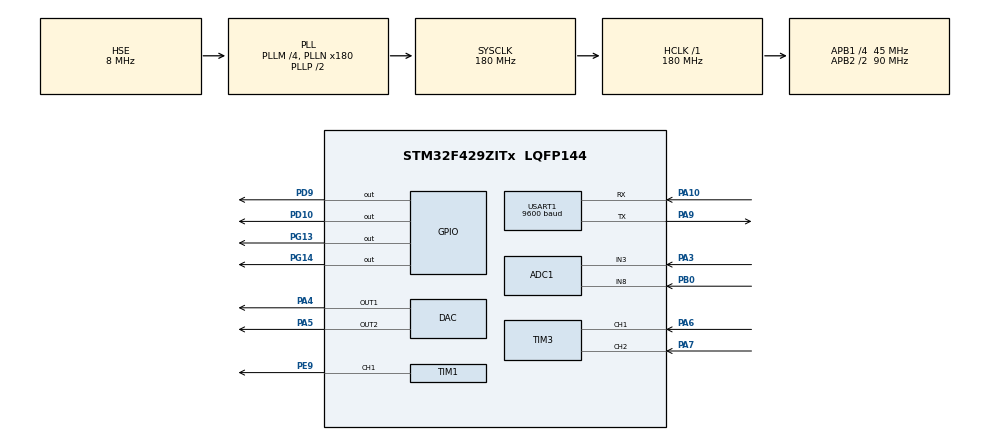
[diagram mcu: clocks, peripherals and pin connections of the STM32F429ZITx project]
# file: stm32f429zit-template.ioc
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ADC1.Channel-0\#ChannelRegularConversion=ADC_CHANNEL_8
ADC1.Channel-8\#ChannelRegularConversion=ADC_CHANNEL_3
ADC1.ContinuousConvMode=DISABLE
ADC1.DMAContinuousRequests=ENABLE
ADC1.EOCSelection=ADC_EOC_SINGLE_CONV
ADC1.ExternalTrigConv=ADC_EXTERNALTRIGCONV_T2_CC2
ADC1.ExternalTrigConvEdge=ADC_EXTERNALTRIGCONVEDGE_FALLING
ADC1.NbrOfConversion=2
ADC1.NbrOfConversionFlag=1
ADC1.Rank-0\#ChannelRegularConversion=1
ADC1.Rank-8\#ChannelRegularConversion=2
ADC1.SamplingTime-0\#ChannelRegularConversion=ADC_SAMPLETIME_15CYCLES
ADC1.SamplingTime-8\#ChannelRegularConversion=ADC_SAMPLETIME_15CYCLES
ADC1.master=1
Dma.ADC1.0.Direction=DMA_PERIPH_TO_MEMORY
Dma.ADC1.0.FIFOMode=DMA_FIFOMODE_DISABLE
Dma.ADC1.0.Instance=DMA2_Stream0
Dma.ADC1.0.MemDataAlignment=DMA_MDATAALIGN_HALFWORD
Dma.ADC1.0.MemInc=DMA_MINC_ENABLE
Dma.ADC1.0.Mode=DMA_CIRCULAR
Dma.ADC1.0.PeriphDataAlignment=DMA_PDATAALIGN_HALFWORD
Dma.ADC1.0.PeriphInc=DMA_PINC_DISABLE
Dma.ADC1.0.Priority=DMA_PRIORITY_LOW
Dma.Request0=ADC1
Mcu.Family=STM32F4
Mcu.Name=STM32F429ZITx
Mcu.Package=LQFP144
NVIC.ADC_IRQn=true\:0\:0\:false\:false\:true\:true\:true\:true
NVIC.DMA2_Stream0_IRQn=true\:0\:0\:false\:false\:true\:false\:true\:true
NVIC.PriorityGroup=NVIC_PRIORITYGROUP_4
NVIC.TIM2_IRQn=true\:0\:0\:false\:false\:true\:true\:true\:true
NVIC.TIM3_IRQn=true\:0\:0\:false\:false\:true\:true\:true\:true
NVIC.TIM7_IRQn=true\:0\:0\:false\:false\:true\:true\:true\:true
NVIC.TIM8_UP_TIM13_IRQn=true\:0\:0\:false\:false\:true\:true\:true\:true
NVIC.USART1_IRQn=true\:0\:0\:false\:false\:true\:true\:true\:true
PA10.Mode=Asynchronous
PA10.Signal=USART1_RX
PA13.Mode=Serial_Wire
PA13.Signal=SYS_JTMS-SWDIO
PA14.Mode=Serial_Wire
PA14.Signal=SYS_JTCK-SWCLK
PA3.Signal=ADCx_IN3
PA4.Signal=COMP_DAC1_group
PA5.Signal=COMP_DAC2_group
PA6.Signal=S_TIM3_CH1
PA7.Signal=S_TIM3_CH2
PA9.Mode=Asynchronous
PA9.Signal=USART1_TX
PB0.Signal=ADCx_IN8
PD10.Signal=GPIO_Output
PD9.Signal=GPIO_Output
PE9.Signal=S_TIM1_CH1
PG13.Signal=GPIO_Output
PG14.Signal=GPIO_Output
PH0/OSC_IN.Mode=HSE-External-Oscillator
PH0/OSC_IN.Signal=RCC_OSC_IN
PH1/OSC_OUT.Mode=HSE-External-Oscillator
PH1/OSC_OUT.Signal=RCC_OSC_OUT
ProjectManager.HeapSize=0x200
ProjectManager.StackSize=0x400
ProjectManager.TargetToolchain=STM32CubeIDE
RCC.48MHZClocksFreq_Value=90000000
RCC.AHBFreq_Value=180000000
RCC.APB1CLKDivider=RCC_HCLK_DIV4
RCC.APB1Freq_Value=45000000
RCC.APB1TimFreq_Value=90000000
RCC.APB2CLKDivider=RCC_HCLK_DIV2
RCC.APB2Freq_Value=90000000
RCC.APB2TimFreq_Value=180000000
RCC.CortexFreq_Value=180000000
RCC.HCLKFreq_Value=180000000
RCC.HSE_VALUE=8000000
RCC.HSI_VALUE=16000000
RCC.LSE_VALUE=32768
RCC.PLLM=4
RCC.PLLN=180
RCC.PLLSourceVirtual=RCC_PLLSOURCE_HSE
RCC.SYSCLKFreq_VALUE=180000000
RCC.SYSCLKSource=RCC_SYSCLKSOURCE_PLLCLK
RCC.VCOOutputFreq_Value=360000000
SH.ADCx_IN3.0=ADC1_IN3,IN3
SH.ADCx_IN8.0=ADC1_IN8,IN8
SH.COMP_DAC1_group.0=DAC_OUT1,DAC_OUT1
SH.COMP_DAC2_group.0=DAC_OUT2,DAC_OUT2
SH.S_TIM1_CH1.0=TIM1_CH1,PWM Generation1 CH1
SH.S_TIM3_CH1.0=TIM3_CH1,Encoder_Interface
SH.S_TIM3_CH2.0=TIM3_CH2,Encoder_Interface
TIM1.Channel-PWM\ Generation1\ CH1=TIM_CHANNEL_1
TIM1.CounterMode=TIM_COUNTERMODE_CENTERALIGNED1
TIM1.TIM_MasterOutputTrigger=TIM_TRGO_UPDATE
TIM1.TIM_MasterSlaveMode=TIM_MASTERSLAVEMODE_ENABLE
TIM13.Period=900-1
TIM2.Channel-PWM\ Generation2\ No\ Output=TIM_CHANNEL_2
TIM3.EncoderMode=TIM_ENCODERMODE_TI12
TIM3.IC1Filter=8
TIM3.IC2Filter=8
TIM7.Period=10-1
TIM7.Prescaler=9000-1
USART1.BaudRate=9600
USART1.VirtualMode=VM_ASYNC
VP_TIM13_VS_ClockSourceINT.Mode=Enable_Timer
VP_TIM2_VS_ClockSourceITR.Mode=TriggerSource_ITR0
VP_TIM2_VS_ControllerModeReset.Mode=Reset Mode
VP_TIM2_VS_no_output2.Mode=PWM Generation2 No Output
VP_TIM7_VS_ClockSourceINT.Mode=Enable_Timer
board=custom

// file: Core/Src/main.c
/* USER CODE BEGIN Header */
/**
  ******************************************************************************
  * @file           : main.c
  * @brief          : Main program body
  ******************************************************************************
  * @attention
  *
  * Copyright (c) 2024 STMicroelectronics.
  * All rights reserved.
  *
  * This software is licensed under terms that can be found in the LICENSE file
  * in the root directory of this software component.
  * If no LICENSE file comes with this software, it is provided AS-IS.
  *
  ******************************************************************************
  */
/* USER CODE END Header */
#include "main.h"

/* USER CODE BEGIN Includes */
#include "virtual_motor.h"
#include "arm_math.h"
#include <stdlib.h>
#include <string.h>
/* USER CODE END Includes */

/* USER CODE BEGIN PTD */
typedef enum
{
  MODE_OPEN_LOOP = 0,
  MODE_CLOSED_LOOP,
} control_mode_t;

typedef struct
{
  float duty_cycle;
  float meas_current;
  float meas_current_unfiltered;
  float meas_velocity;
  float meas_velocity_unfiltered;
  float meas_velocity_rpm;
  float target;

  control_mode_t control_mode;
  arm_pid_instance_f32 reg_velocity;
  float target_voltage;
  float target_rpm;
} dcmotor_t;

typedef struct
{
  float angle;
  uint32_t capture_cnt;
  int dir;
} encoder_t;
/* USER CODE END PTD */

/* USER CODE BEGIN PD */
#define UART_RX_BUF_SIZE 32
/* USER CODE END PD */

/* USER CODE BEGIN PM */
#define UTILS_LP_FAST(value, sample, filter_constant) (value -= (filter_constant) * ((value) - (sample)))
/* USER CODE END PM */

ADC_HandleTypeDef hadc1;
DMA_HandleTypeDef hdma_adc1;

DAC_HandleTypeDef hdac;

TIM_HandleTypeDef htim1;
TIM_HandleTypeDef htim2;
TIM_HandleTypeDef htim3;
TIM_HandleTypeDef htim7;
TIM_HandleTypeDef htim13;

UART_HandleTypeDef huart1;

/* USER CODE BEGIN PV */
uint16_t adc_values[2] = {0};
uint16_t adc_sample_flag = 0;
uint8_t uart_byte = 0;

encoder_t encoder = {0};
dcmotor_t dcmotor = {0};
/* USER CODE END PV */

void SystemClock_Config(void);
static void MX_GPIO_Init(void);
static void MX_DMA_Init(void);
static void MX_TIM7_Init(void);
static void MX_TIM1_Init(void);
static void MX_ADC1_Init(void);
static void MX_TIM2_Init(void);
static void MX_TIM3_Init(void);
static void MX_USART1_UART_Init(void);
static void MX_TIM13_Init(void);
static void MX_DAC_Init(void);
/* USER CODE BEGIN PFP */
int parse_int_command(char *command);
void control_loop();
/* USER CODE END PFP */

int main(void)
{

  /* MCU Configuration--------------------------------------------------------*/

  /* Reset of all peripherals, Initializes the Flash interface and the Systick. */
  HAL_Init();

  /* Configure the system clock */
  SystemClock_Config();

  /* Initialize all configured peripherals */
  MX_GPIO_Init();
  MX_DMA_Init();
  MX_TIM7_Init();
  MX_TIM1_Init();
  MX_ADC1_Init();
  MX_TIM2_Init();
  MX_TIM3_Init();
  MX_USART1_UART_Init();
  MX_TIM13_Init();
  MX_DAC_Init();
  /* USER CODE BEGIN 2 */
  virtual_motor_reinit();

  dcmotor.control_mode = MODE_CLOSED_LOOP;

  dcmotor.reg_velocity.Kp = 0.01f;
  dcmotor.reg_velocity.Ki = 0.00005f;
  dcmotor.reg_velocity.Kd = 0.0f;
  arm_pid_init_f32(&dcmotor.reg_velocity, 1);

  TIM7->ARR = 5 - 1;
  HAL_TIM_Base_Start_IT(&htim7);

  HAL_TIM_Encoder_Start_IT(&htim3, TIM_CHANNEL_1);
  HAL_TIM_Encoder_Start_IT(&htim3, TIM_CHANNEL_2);

  HAL_ADC_Start_DMA(&hadc1, (uint32_t*)adc_values, 2);

  TIM2->PSC = 9 - 1;
  TIM2->CCR2 = 0xf;
  HAL_TIM_PWM_Start_IT(&htim2, TIM_CHANNEL_2);

  TIM1->ARR = (SystemCoreClock / 5000 / 2) - 1; // 5 KHz PWM
  TIM1->CCR1 = (uint16_t)(0.25f * (float)TIM1->ARR);
  HAL_TIM_PWM_Start(&htim1, TIM_CHANNEL_1);

  HAL_UART_Receive_IT(&huart1, &uart_byte, sizeof(uart_byte));
  /* USER CODE END 2 */

  /* Infinite loop */
  while (1)
  {

  }
}

void SystemClock_Config(void)
{
  RCC_OscInitTypeDef RCC_OscInitStruct = {0};
  RCC_ClkInitTypeDef RCC_ClkInitStruct = {0};

  /** Configure the main internal regulator output voltage
  */
  __HAL_RCC_PWR_CLK_ENABLE();
  __HAL_PWR_VOLTAGESCALING_CONFIG(PWR_REGULATOR_VOLTAGE_SCALE1);

  /** Initializes the RCC Oscillators according to the specified parameters
  * in the RCC_OscInitTypeDef structure.
  */
  RCC_OscInitStruct.OscillatorType = RCC_OSCILLATORTYPE_HSE;
  RCC_OscInitStruct.HSEState = RCC_HSE_ON;
  RCC_OscInitStruct.PLL.PLLState = RCC_PLL_ON;
  RCC_OscInitStruct.PLL.PLLSource = RCC_PLLSOURCE_HSE;
  RCC_OscInitStruct.PLL.PLLM = 4;
  RCC_OscInitStruct.PLL.PLLN = 180;
  RCC_OscInitStruct.PLL.PLLP = RCC_PLLP_DIV2;
  RCC_OscInitStruct.PLL.PLLQ = 4;
  if (HAL_RCC_OscConfig(&RCC_OscInitStruct) != HAL_OK)
  {
    Error_Handler();
  }

  /** Activate the Over-Drive mode
  */
  if (HAL_PWREx_EnableOverDrive() != HAL_OK)
  {
    Error_Handler();
  }

  /** Initializes the CPU, AHB and APB buses clocks
  */
  RCC_ClkInitStruct.ClockType = RCC_CLOCKTYPE_HCLK|RCC_CLOCKTYPE_SYSCLK
                              |RCC_CLOCKTYPE_PCLK1|RCC_CLOCKTYPE_PCLK2;
  RCC_ClkInitStruct.SYSCLKSource = RCC_SYSCLKSOURCE_PLLCLK;
  RCC_ClkInitStruct.AHBCLKDivider = RCC_SYSCLK_DIV1;
  RCC_ClkInitStruct.APB1CLKDivider = RCC_HCLK_DIV4;
  RCC_ClkInitStruct.APB2CLKDivider = RCC_HCLK_DIV2;

  if (HAL_RCC_ClockConfig(&RCC_ClkInitStruct, FLASH_LATENCY_5) != HAL_OK)
  {
    Error_Handler();
  }
}

static void MX_ADC1_Init(void)
{

  ADC_ChannelConfTypeDef sConfig = {0};

  /** Configure the global features of the ADC (Clock, Resolution, Data Alignment and number of conversion)
  */
  hadc1.Instance = ADC1;
  hadc1.Init.ClockPrescaler = ADC_CLOCK_SYNC_PCLK_DIV4;
  hadc1.Init.Resolution = ADC_RESOLUTION_12B;
  hadc1.Init.ScanConvMode = ENABLE;
  hadc1.Init.ContinuousConvMode = DISABLE;
  hadc1.Init.DiscontinuousConvMode = DISABLE;
  hadc1.Init.ExternalTrigConvEdge = ADC_EXTERNALTRIGCONVEDGE_FALLING;
  hadc1.Init.ExternalTrigConv = ADC_EXTERNALTRIGCONV_T2_CC2;
  hadc1.Init.DataAlign = ADC_DATAALIGN_RIGHT;
  hadc1.Init.NbrOfConversion = 2;
  hadc1.Init.DMAContinuousRequests = ENABLE;
  hadc1.Init.EOCSelection = ADC_EOC_SINGLE_CONV;
  if (HAL_ADC_Init(&hadc1) != HAL_OK)
  {
    Error_Handler();
  }

  /** Configure for the selected ADC regular channel its corresponding rank in the sequencer and its sample time.
  */
  sConfig.Channel = ADC_CHANNEL_8;
  sConfig.Rank = 1;
  sConfig.SamplingTime = ADC_SAMPLETIME_15CYCLES;
  if (HAL_ADC_ConfigChannel(&hadc1, &sConfig) != HAL_OK)
  {
    Error_Handler();
  }

  /** Configure for the selected ADC regular channel its corresponding rank in the sequencer and its sample time.
  */
  sConfig.Channel = ADC_CHANNEL_3;
  sConfig.Rank = 2;
  if (HAL_ADC_ConfigChannel(&hadc1, &sConfig) != HAL_OK)
  {
    Error_Handler();
  }

}

static void MX_DAC_Init(void)
{

  DAC_ChannelConfTypeDef sConfig = {0};

  /** DAC Initialization
  */
  hdac.Instance = DAC;
  if (HAL_DAC_Init(&hdac) != HAL_OK)
  {
    Error_Handler();
  }

  /** DAC channel OUT1 config
  */
  sConfig.DAC_Trigger = DAC_TRIGGER_NONE;
  sConfig.DAC_OutputBuffer = DAC_OUTPUTBUFFER_ENABLE;
  if (HAL_DAC_ConfigChannel(&hdac, &sConfig, DAC_CHANNEL_1) != HAL_OK)
  {
    Error_Handler();
  }

  /** DAC channel OUT2 config
  */
  if (HAL_DAC_ConfigChannel(&hdac, &sConfig, DAC_CHANNEL_2) != HAL_OK)
  {
    Error_Handler();
  }

}

static void MX_TIM1_Init(void)
{

  TIM_MasterConfigTypeDef sMasterConfig = {0};
  TIM_OC_InitTypeDef sConfigOC = {0};
  TIM_BreakDeadTimeConfigTypeDef sBreakDeadTimeConfig = {0};

  htim1.Instance = TIM1;
  htim1.Init.Prescaler = 0;
  htim1.Init.CounterMode = TIM_COUNTERMODE_CENTERALIGNED1;
  htim1.Init.Period = 65535;
  htim1.Init.ClockDivision = TIM_CLOCKDIVISION_DIV1;
  htim1.Init.RepetitionCounter = 0;
  htim1.Init.AutoReloadPreload = TIM_AUTORELOAD_PRELOAD_DISABLE;
  if (HAL_TIM_PWM_Init(&htim1) != HAL_OK)
  {
    Error_Handler();
  }
  sMasterConfig.MasterOutputTrigger = TIM_TRGO_UPDATE;
  sMasterConfig.MasterSlaveMode = TIM_MASTERSLAVEMODE_ENABLE;
  if (HAL_TIMEx_MasterConfigSynchronization(&htim1, &sMasterConfig) != HAL_OK)
  {
    Error_Handler();
  }
  sConfigOC.OCMode = TIM_OCMODE_PWM1;
  sConfigOC.Pulse = 0;
  sConfigOC.OCPolarity = TIM_OCPOLARITY_HIGH;
  sConfigOC.OCNPolarity = TIM_OCNPOLARITY_HIGH;
  sConfigOC.OCFastMode = TIM_OCFAST_DISABLE;
  sConfigOC.OCIdleState = TIM_OCIDLESTATE_RESET;
  sConfigOC.OCNIdleState = TIM_OCNIDLESTATE_RESET;
  if (HAL_TIM_PWM_ConfigChannel(&htim1, &sConfigOC, TIM_CHANNEL_1) != HAL_OK)
  {
    Error_Handler();
  }
  sBreakDeadTimeConfig.OffStateRunMode = TIM_OSSR_DISABLE;
  sBreakDeadTimeConfig.OffStateIDLEMode = TIM_OSSI_DISABLE;
  sBreakDeadTimeConfig.LockLevel = TIM_LOCKLEVEL_OFF;
  sBreakDeadTimeConfig.DeadTime = 0;
  sBreakDeadTimeConfig.BreakState = TIM_BREAK_DISABLE;
  sBreakDeadTimeConfig.BreakPolarity = TIM_BREAKPOLARITY_HIGH;
  sBreakDeadTimeConfig.AutomaticOutput = TIM_AUTOMATICOUTPUT_DISABLE;
  if (HAL_TIMEx_ConfigBreakDeadTime(&htim1, &sBreakDeadTimeConfig) != HAL_OK)
  {
    Error_Handler();
  }
  HAL_TIM_MspPostInit(&htim1);

}

static void MX_TIM2_Init(void)
{

  TIM_SlaveConfigTypeDef sSlaveConfig = {0};
  TIM_MasterConfigTypeDef sMasterConfig = {0};
  TIM_OC_InitTypeDef sConfigOC = {0};

  htim2.Instance = TIM2;
  htim2.Init.Prescaler = 0;
  htim2.Init.CounterMode = TIM_COUNTERMODE_UP;
  htim2.Init.Period = 4294967295;
  htim2.Init.ClockDivision = TIM_CLOCKDIVISION_DIV1;
  htim2.Init.AutoReloadPreload = TIM_AUTORELOAD_PRELOAD_DISABLE;
  if (HAL_TIM_Base_Init(&htim2) != HAL_OK)
  {
    Error_Handler();
  }
  if (HAL_TIM_PWM_Init(&htim2) != HAL_OK)
  {
    Error_Handler();
  }
  sSlaveConfig.SlaveMode = TIM_SLAVEMODE_RESET;
  sSlaveConfig.InputTrigger = TIM_TS_ITR0;
  if (HAL_TIM_SlaveConfigSynchro(&htim2, &sSlaveConfig) != HAL_OK)
  {
    Error_Handler();
  }
  sMasterConfig.MasterOutputTrigger = TIM_TRGO_RESET;
  sMasterConfig.MasterSlaveMode = TIM_MASTERSLAVEMODE_DISABLE;
  if (HAL_TIMEx_MasterConfigSynchronization(&htim2, &sMasterConfig) != HAL_OK)
  {
    Error_Handler();
  }
  sConfigOC.OCMode = TIM_OCMODE_PWM1;
  sConfigOC.Pulse = 0;
  sConfigOC.OCPolarity = TIM_OCPOLARITY_HIGH;
  sConfigOC.OCFastMode = TIM_OCFAST_DISABLE;
  if (HAL_TIM_PWM_ConfigChannel(&htim2, &sConfigOC, TIM_CHANNEL_2) != HAL_OK)
  {
    Error_Handler();
  }

}

static void MX_TIM3_Init(void)
{

  TIM_Encoder_InitTypeDef sConfig = {0};
  TIM_MasterConfigTypeDef sMasterConfig = {0};

  htim3.Instance = TIM3;
  htim3.Init.Prescaler = 0;
  htim3.Init.CounterMode = TIM_COUNTERMODE_UP;
  htim3.Init.Period = 65535;
  htim3.Init.ClockDivision = TIM_CLOCKDIVISION_DIV1;
  htim3.Init.AutoReloadPreload = TIM_AUTORELOAD_PRELOAD_DISABLE;
  sConfig.EncoderMode = TIM_ENCODERMODE_TI12;
  sConfig.IC1Polarity = TIM_ICPOLARITY_RISING;
  sConfig.IC1Selection = TIM_ICSELECTION_DIRECTTI;
  sConfig.IC1Prescaler = TIM_ICPSC_DIV1;
  sConfig.IC1Filter = 8;
  sConfig.IC2Polarity = TIM_ICPOLARITY_RISING;
  sConfig.IC2Selection = TIM_ICSELECTION_DIRECTTI;
  sConfig.IC2Prescaler = TIM_ICPSC_DIV1;
  sConfig.IC2Filter = 8;
  if (HAL_TIM_Encoder_Init(&htim3, &sConfig) != HAL_OK)
  {
    Error_Handler();
  }
  sMasterConfig.MasterOutputTrigger = TIM_TRGO_RESET;
  sMasterConfig.MasterSlaveMode = TIM_MASTERSLAVEMODE_DISABLE;
  if (HAL_TIMEx_MasterConfigSynchronization(&htim3, &sMasterConfig) != HAL_OK)
  {
    Error_Handler();
  }

}

static void MX_TIM7_Init(void)
{

  TIM_MasterConfigTypeDef sMasterConfig = {0};

  htim7.Instance = TIM7;
  htim7.Init.Prescaler = 9000-1;
  htim7.Init.CounterMode = TIM_COUNTERMODE_UP;
  htim7.Init.Period = 10-1;
  htim7.Init.AutoReloadPreload = TIM_AUTORELOAD_PRELOAD_DISABLE;
  if (HAL_TIM_Base_Init(&htim7) != HAL_OK)
  {
    Error_Handler();
  }
  sMasterConfig.MasterOutputTrigger = TIM_TRGO_RESET;
  sMasterConfig.MasterSlaveMode = TIM_MASTERSLAVEMODE_DISABLE;
  if (HAL_TIMEx_MasterConfigSynchronization(&htim7, &sMasterConfig) != HAL_OK)
  {
    Error_Handler();
  }

}

static void MX_TIM13_Init(void)
{

  htim13.Instance = TIM13;
  htim13.Init.Prescaler = 0;
  htim13.Init.CounterMode = TIM_COUNTERMODE_UP;
  htim13.Init.Period = 900-1;
  htim13.Init.ClockDivision = TIM_CLOCKDIVISION_DIV1;
  htim13.Init.AutoReloadPreload = TIM_AUTORELOAD_PRELOAD_DISABLE;
  if (HAL_TIM_Base_Init(&htim13) != HAL_OK)
  {
    Error_Handler();
  }

}

static void MX_USART1_UART_Init(void)
{

  huart1.Instance = USART1;
  huart1.Init.BaudRate = 9600;
  huart1.Init.WordLength = UART_WORDLENGTH_8B;
  huart1.Init.StopBits = UART_STOPBITS_1;
  huart1.Init.Parity = UART_PARITY_NONE;
  huart1.Init.Mode = UART_MODE_TX_RX;
  huart1.Init.HwFlowCtl = UART_HWCONTROL_NONE;
  huart1.Init.OverSampling = UART_OVERSAMPLING_16;
  if (HAL_UART_Init(&huart1) != HAL_OK)
  {
    Error_Handler();
  }

}

static void MX_DMA_Init(void)
{

  /* DMA controller clock enable */
  __HAL_RCC_DMA2_CLK_ENABLE();

  /* DMA interrupt init */
  /* DMA2_Stream0_IRQn interrupt configuration */
  HAL_NVIC_SetPriority(DMA2_Stream0_IRQn, 0, 0);
  HAL_NVIC_EnableIRQ(DMA2_Stream0_IRQn);

}

static void MX_GPIO_Init(void)
{
  GPIO_InitTypeDef GPIO_InitStruct = {0};

  /* GPIO Ports Clock Enable */
  __HAL_RCC_GPIOH_CLK_ENABLE();
  __HAL_RCC_GPIOA_CLK_ENABLE();
  __HAL_RCC_GPIOB_CLK_ENABLE();
  __HAL_RCC_GPIOE_CLK_ENABLE();
  __HAL_RCC_GPIOD_CLK_ENABLE();
  __HAL_RCC_GPIOG_CLK_ENABLE();

  /*Configure GPIO pin Output Level */
  HAL_GPIO_WritePin(GPIOD, GPIO_PIN_9|GPIO_PIN_10, GPIO_PIN_RESET);

  /*Configure GPIO pin Output Level */
  HAL_GPIO_WritePin(GPIOG, GPIO_PIN_13|GPIO_PIN_14, GPIO_PIN_RESET);

  /*Configure GPIO pins : PD9 PD10 */
  GPIO_InitStruct.Pin = GPIO_PIN_9|GPIO_PIN_10;
  GPIO_InitStruct.Mode = GPIO_MODE_OUTPUT_PP;
  GPIO_InitStruct.Pull = GPIO_NOPULL;
  GPIO_InitStruct.Speed = GPIO_SPEED_FREQ_LOW;
  HAL_GPIO_Init(GPIOD, &GPIO_InitStruct);

  /*Configure GPIO pins : PG13 PG14 */
  GPIO_InitStruct.Pin = GPIO_PIN_13|GPIO_PIN_14;
  GPIO_InitStruct.Mode = GPIO_MODE_OUTPUT_PP;
  GPIO_InitStruct.Pull = GPIO_NOPULL;
  GPIO_InitStruct.Speed = GPIO_SPEED_FREQ_LOW;
  HAL_GPIO_Init(GPIOG, &GPIO_InitStruct);

}

/* USER CODE BEGIN 4 */
void HAL_UART_RxCpltCallback(UART_HandleTypeDef *huart)
{
  static char rx_buf[UART_RX_BUF_SIZE] = {0};
  static int rx_buf_idx = 0;

  if (huart != &huart1)
  {
    return;
  }

  if (rx_buf_idx >= UART_RX_BUF_SIZE)
  {
    // Произошло переполнение буфера
    rx_buf_idx = 0;
    memset((void *)rx_buf, 0, UART_RX_BUF_SIZE);
  }

  rx_buf[rx_buf_idx++] = uart_byte;

  if ((rx_buf_idx > 2) && (rx_buf[rx_buf_idx - 2] == '\r') && (rx_buf[rx_buf_idx - 1] == '\n'))
  {
    // Отправляем команду в симулятор двигателя
	  char *vm_response = virtual_motor_parse_command(rx_buf);
	  if (vm_response != NULL) {
		  HAL_UART_Transmit(&huart1, (uint8_t*)vm_response, strlen(vm_response), 100);
	  }
    else if (strstr(rx_buf, "set_mode"))
    {
    	int mode = parse_int_command(rx_buf);
    	if (mode != -1)
    	{
    		dcmotor.control_mode = mode;
    	}
    }
    else if (strstr(rx_buf, "set_target"))
    {
      int target = parse_int_command(rx_buf);
      if (target != -1)
      {
        dcmotor.target = (float)target * 0.01f;
      }
    }
    else
    {
      const char msg[] = "unknown command!\r\n";
      HAL_UART_Transmit(&huart1, (uint8_t *)msg, strlen(msg), 100);
    }
    // Очищаем буфер
    rx_buf_idx = 0;
    memset((void *)rx_buf, 0, UART_RX_BUF_SIZE);
  }

  // Снова включаем приём 1 байта по прерыванию
  HAL_UART_Receive_IT(&huart1, &uart_byte, sizeof(uart_byte));
}

void HAL_TIM_IC_CaptureCallback(TIM_HandleTypeDef *htim)
{
  if (htim == &htim3)
  {
    if (htim3.Channel == HAL_TIM_ACTIVE_CHANNEL_1)
    {
      encoder.capture_cnt++;
      if (TIM3->CR1 & TIM_CR1_DIR)
      {
        encoder.dir = -1;
      }
      else
      {
        encoder.dir = 1;
      }
    }
  }
}

void HAL_TIM_PeriodElapsedCallback(TIM_HandleTypeDef *htim)
{
  // Этот обратный вызов автоматически вызывается HAL при возникновении события UEV
  // Передача управления HAL, который обрабатывает IRQ
  static uint32_t enc_capture_cnt_prev = 0;
  static uint32_t enc_cutback_cnt = 0;
  if (htim == &htim7) {
	  if (enc_cutback_cnt++ >= 2000)
	  {
		  dcmotor.meas_velocity = 0.0f;
		  dcmotor.meas_velocity_rpm = 0.0f;
		  dcmotor.meas_velocity_unfiltered = 0.0f;
		  enc_cutback_cnt = 0;
	  }

	  if (encoder.capture_cnt != enc_capture_cnt_prev)
	  {
		  const float angle_per_pulse = (2.0f * PI) / (float)ENCODER_PPR;
		  int32_t enc_capture_diff = abs(encoder.capture_cnt - enc_capture_cnt_prev);
		  dcmotor.meas_velocity_unfiltered = (float)encoder.dir * ((float)enc_capture_diff * angle_per_pulse) / ((float)enc_cutback_cnt / 2000.0f);
		  UTILS_LP_FAST(dcmotor.meas_velocity, dcmotor.meas_velocity_unfiltered, 0.25f);
		  dcmotor.meas_velocity_rpm = dcmotor.meas_velocity * 9.549297f;

		  enc_capture_cnt_prev = encoder.capture_cnt;
		  enc_cutback_cnt = 0;
	  }

	  control_loop();

  } else if (htim == &htim13) {
	  virtual_motor_run(dcmotor.duty_cycle);
  }
}

void HAL_ADC_ConvCpltCallback(ADC_HandleTypeDef *hadc) {

	if (hadc == &hadc1) {
		if (!(TIM1->CR1 & TIM_CR1_DIR)) {
			adc_sample_flag = (adc_sample_flag == 0) ? (0xfff + 0xff) : 0;

			/*
			    ADC step voltage = 3.3 / 4096 ≈ 0.00080586 V per step
			    I = (min) + (V_ADC / 3.3) * (max - min)
			    V_ADC = ADC_value * 0.00080586
			    I = -30 + ((ADC_value * 0.00080586) / 3.3) * 60
			    I = -30 + (ADC_value * 0.00080586 * 60) / 3.3
			    I = -30 + ADC_value * 0.014652
			 */
      // Вычисление значения тока
			dcmotor.meas_current_unfiltered = -30.0f + adc_values[0] * 0.014652f;
      // Фильтрация
			UTILS_LP_FAST(dcmotor.meas_current, dcmotor.meas_current_unfiltered, 0.01f);
		}
	}
}

void control_loop() {
	if (dcmotor.target == 0.0f)
	{
		dcmotor.target_voltage = 0.0f;
		dcmotor.duty_cycle = 0.0f;
		TIM1->CCR1 = 0;
		return;
	}
	switch (dcmotor.control_mode)
	{
	case MODE_OPEN_LOOP:
	{
		dcmotor.target_voltage = V_BUS * dcmotor.target;
		dcmotor.duty_cycle = dcmotor.target;
		break;
	}
	case MODE_CLOSED_LOOP:
	{
		dcmotor.target_rpm = (dcmotor.target * RPM_MAX);
		float target_vel = dcmotor.target_rpm / 9.549297f;

		arm_pid_f32(&dcmotor.reg_velocity, target_vel - dcmotor.meas_velocity);
		if (dcmotor.reg_velocity.state[2] > V_BUS)
		{
			dcmotor.reg_velocity.state[2] = V_BUS;
		}
		else if (dcmotor.reg_velocity.state[2] < 0.0f)
		{
			dcmotor.reg_velocity.state[2] = 0.0f;
		}
		dcmotor.target_voltage = dcmotor.reg_velocity.state[2];
		dcmotor.duty_cycle = dcmotor.target_voltage / V_BUS;
		break;
	}
	}

	TIM1->CCR1 = (uint16_t)(dcmotor.duty_cycle * (float)TIM1->ARR);
}

int parse_int_command(char *command)
{
  // Find the first underscore
  const char *first_underscore = strchr(command, '_');
  if (first_underscore)
  {
    // Find the second underscore
    const char *second_underscore = strchr(first_underscore + 1, '_');
    if (second_underscore)
    {
      const char *num_str = second_underscore + 1;
      int num = atoi(num_str);

      // Validate the range of the integer
      if (num >= 0 && num <= 100)
      {
        return num;
      }
    }
  }
  return -1;
}

/* USER CODE END 4 */

void Error_Handler(void)
{
  __disable_irq();
  while (1)
  {
  }
}
